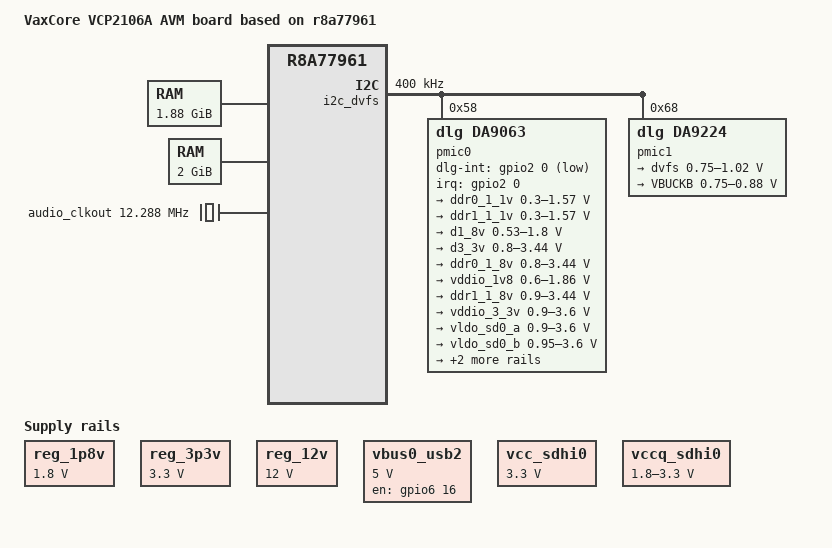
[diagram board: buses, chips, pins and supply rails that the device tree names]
// SPDX-License-Identifier: GPL-2.0
/*
 * Device Tree Source for common parts of Salvator-X board variants
 *
 * Copyright (C) 2015-2017 Renesas Electronics Corp.
 */

/*
 * SSI-AK4613
 *
 * This command is required when Playback/Capture
 *
 *	amixer set "DVC Out" 100%
 *	amixer set "DVC In" 100%
 *
 * You can use Mute
 *
 *	amixer set "DVC Out Mute" on
 *	amixer set "DVC In Mute" on
 *
 * You can use Volume Ramp
 *
 *	amixer set "DVC Out Ramp Up Rate"   "0.125 dB/64 steps"
 *	amixer set "DVC Out Ramp Down Rate" "0.125 dB/512 steps"
 *	amixer set "DVC Out Ramp" on
 *	aplay xxx.wav &
 *	amixer set "DVC Out"  80%  // Volume Down
 *	amixer set "DVC Out" 100%  // Volume Up
 */

#include <dt-bindings/gpio/gpio.h>

/ {
	model = "VaxCore VCP2106A AVM board based on r8a77961";
	compatible = "vaxcore,vcp2106a", "renesas,r8a77961";

	chosen {
		bootargs = "ignore_loglevel rw root=/dev/nfs ip=dhcp";
		stdout-path = "serial0:115200n8";
	};

	memory@48000000 {
		device_type = "memory";
		/* first 128MB is reserved for secure area. */
		reg = <0x0 0x48000000 0x0 0x78000000>;
	};

	memory@600000000 {
		device_type = "memory";
		reg = <0x6 0x00000000 0x0 0x80000000>;
	};

	reserved-memory {
		#address-cells = <2>;
		#size-cells = <2>;
		ranges;

		/* device specific region for Lossy Decompression */
		lossy_decompress: linux,lossy_decompress@54000000 {
			no-map;
			reg = <0x00000000 0x54000000 0x0 0x03000000>;
		};

		/* reserved region for CR7 FreeRTOS */
		rtos_reserved: linux,rtos@57000000{
			reg = <0x00000000 0x57000000 0x0 0x04000000>;
		};

		/* global autoconfigured region for contiguous allocations */
		linux,cma@5b000000 {
			compatible = "shared-dma-pool";
			reusable;
			reg = <0x00000000 0x5B000000 0x0 0x15000000>;
			linux,cma-default;
		};

		/* device specific region for contiguous allocations */
		mmp_reserved: linux,multimedia@70000000 {
			compatible = "shared-dma-pool";
			reusable;
			reg = <0x00000000 0x70000000 0x0 0x10000000>;
		};

		/* reserved region for CR7 FreeRTOS framerbuffer */
		/*
		rtos_fb_reserved: linux,rtos@7d000000{
			reg = <0x00000000 0x7C000000 0x0 0x04000000>;
		};
		*/
	};

	reg_1p8v: regulator0 {
		compatible = "regulator-fixed";
		regulator-name = "fixed-1.8V";
		regulator-min-microvolt = <1800000>;
		regulator-max-microvolt = <1800000>;
		regulator-boot-on;
		regulator-always-on;
	};

	reg_3p3v: regulator1 {
		compatible = "regulator-fixed";
		regulator-name = "fixed-3.3V";
		regulator-min-microvolt = <3300000>;
		regulator-max-microvolt = <3300000>;
		regulator-boot-on;
		regulator-always-on;
	};

	reg_12v: regulator2 {
		compatible = "regulator-fixed";
		regulator-name = "fixed-12V";
		regulator-min-microvolt = <12000000>;
		regulator-max-microvolt = <12000000>;
		regulator-boot-on;
		regulator-always-on;
	};

	vbus0_usb2: regulator-vbus0-usb2 {
		compatible = "regulator-fixed";

		regulator-name = "USB20_VBUS0";
		regulator-min-microvolt = <5000000>;
		regulator-max-microvolt = <5000000>;

		gpio = <&gpio6 16 GPIO_ACTIVE_HIGH>;
		enable-active-high;
	};

	vcc_sdhi0: regulator-vcc-sdhi0 {
		compatible = "regulator-fixed";

		regulator-name = "SDHI0 Vcc";
		regulator-min-microvolt = <3300000>;
		regulator-max-microvolt = <3300000>;
		regulator-boot-on;
		regulator-always-on;
	};

	vccq_sdhi0: regulator-vccq-sdhi0 {
		compatible = "regulator-gpio";

		regulator-name = "SDHI0 VccQ";
		regulator-min-microvolt = <1800000>;
		regulator-max-microvolt = <3300000>;

		gpios = <&gpio5 1 GPIO_ACTIVE_HIGH>;
		gpios-states = <1>;
		states = <3300000 1
			  1800000 0>;
	};

	mmngr {
		compatible = "renesas,mmngr";
		memory-region = <&mmp_reserved>, <&lossy_decompress>;
	};

	mmngrbuf {
		compatible = "renesas,mmngrbuf";
	};

	vspm_if {
		compatible = "renesas,vspm_if";
	};

	x12_clk: x12 {
		compatible = "fixed-clock";
		#clock-cells = <0>;
		clock-frequency = <24576000>;
	};

	/* External DU dot clocks */
	x21_clk: x21-clock {
		compatible = "fixed-clock";
		#clock-cells = <0>;
		clock-frequency = <33000000>;
	};

	x22_clk: x22-clock {
		compatible = "fixed-clock";
		#clock-cells = <0>;
		clock-frequency = <33000000>;
	};

	x23_clk: x23-clock {
		compatible = "fixed-clock";
		#clock-cells = <0>;
		clock-frequency = <25000000>;
	};

	audio_clkout: audio-clkout {
		/*
		 * This is same as <&rcar_sound 0>
		 * but needed to avoid cs2000/rcar_sound probe dead-lock
		 */
		compatible = "fixed-clock";
		#clock-cells = <0>;
		clock-frequency = <12288000>;
	};
};

&pfc {
	pinctrl-0 = <&scif_clk_pins>;
	pinctrl-names = "default";

	du_pins: du {
		groups = "du_rgb888", "du_sync", "du_oddf", "du_clk_out_0";
		function = "du";
	};

	hscif0_pins: hscif0 {
		groups = "hscif0_data";
		function = "hscif0";
	};

	hscif1_pins: hscif1 {
		groups = "hscif1_data_a";
		function = "hscif1";
	};

	hscif3_pins: hscif3 {
		groups = "hscif3_data_a";
		function = "hscif3";
	};

	i2c0_pins: i2c0 {
		groups = "i2c0";
		function = "i2c0";
	};

	i2c2_pins: i2c2 {
		groups = "i2c2_a";
		function = "i2c2";
	};

	i2c3_pins: i2c3 {
		groups = "i2c3";
		function = "i2c3";
	};

	i2c5_pins: i2c5 {
		groups = "i2c5";
		function = "i2c5";
	};

	i2c6_pins: i2c6 {
		groups = "i2c6_b";
		function = "i2c6";
	};

	irq0_pins: irq0 {
		groups = "intc_ex_irq0";
		function = "intc_ex";
	};

	pwm1_pins: pwm1 {
		groups = "pwm1_a";
		function = "pwm1";
	};

	pwm2_pins: pwm2 {
		groups = "pwm2_a";
		function = "pwm2";
	};

	scif1_pins: scif1 {
		groups = "scif1_data_b";
		function = "scif1";
	};

	scif2_pins: scif2 {
		groups = "scif2_data_a";
		function = "scif2";
	};

	scif3_pins: scif3 {
		groups = "scif3_data_a";
		function = "scif3";
	};

	scif_clk_pins: scif_clk {
		groups = "scif_clk_a";
		function = "scif_clk";
	};

	sdhi0_pins: sd0 {
		groups = "sdhi0_data4", "sdhi0_ctrl";
		function = "sdhi0";
		power-source = <3300>;
	};

	sdhi0_pins_uhs: sd0_uhs {
		groups = "sdhi0_data4", "sdhi0_ctrl";
		function = "sdhi0";
		power-source = <1800>;
	};

	sdhi2_pins: sd2 {
		groups = "sdhi2_data8", "sdhi2_ctrl", "sdhi2_ds";
		function = "sdhi2";
		power-source = <3300>;
	};

	sdhi2_pins_uhs: sd2_uhs {
		groups = "sdhi2_data8", "sdhi2_ctrl", "sdhi2_ds";
		function = "sdhi2";
		power-source = <1800>;
	};

	sdhi3_pins: sd3 {
		groups = "sdhi3_data4", "sdhi3_ctrl", "sdhi3_ds";
		function = "sdhi3";
		power-source = <3300>;
	};

	sdhi3_pins_uhs: sd3_uhs {
		groups = "sdhi3_data4", "sdhi3_ctrl", "sdhi3_ds";
		function = "sdhi3";
		power-source = <1800>;
	};

	can0_pins: can0 {
		groups = "can0_data_a";
		function = "can0";
	};

	can1_pins: can1 {
		groups = "can1_data";
		function = "can1";
	};

	sound_pins: sound {
		groups = "ssi01239_ctrl", "ssi0_data", "ssi1_data_a";
		function = "ssi";
	};

	sound_clk_pins: sound_clk {
		groups = "audio_clk_a_a", "audio_clk_b_a", "audio_clk_c_a", "audio_clkout_a", "audio_clkout3_a";
		function = "audio_clk";
	};

	usb0_pins: usb0 {
		groups = "usb0";
		function = "usb0";
	};

	usb1_pins: usb1 {
		mux {
			groups = "usb1";
			function = "usb1";
		};

		ovc {
			pins = "GP_6_27";
			bias-pull-up;
		};

		pwen {
			pins = "GP_6_26";
			bias-pull-down;
		};
	};

	usb30_pins: usb30 {
		groups = "usb30";
		function = "usb30";
	};
};

&a57_0 {
	cpu-supply = <&dvfs>;
};

&extal_clk {
	clock-frequency = <16666666>;
};

&extalr_clk {
	clock-frequency = <32768>;
};

&scif_clk {
	clock-frequency = <14745600>;
};

&hscif0 {
	pinctrl-0 = <&hscif0_pins>;
	pinctrl-names = "default";

	/* Please use exclusively to the scif1 node */
	status = "disabled";
};

&hscif1 {
	pinctrl-0 = <&hscif1_pins>;
	pinctrl-names = "default";

	/* Please use exclusively to the scif1 node */
	status = "disabled";
};

&scif1 {
	pinctrl-0 = <&scif1_pins>;
	pinctrl-names = "default";

	/*uart-has-rtscts;*/
	/* Please use exclusively to the hscif1 node */
	status = "disabled";
};

&scif2 {
	pinctrl-0 = <&scif2_pins>;
	pinctrl-names = "default";

	status = "disabled";
};

&scif3 {
	pinctrl-0 = <&scif3_pins>;
	pinctrl-names = "default";

	status = "disabled";
};

&rwdt {
	timeout-sec = <60>;
	status = "disabled";
};

&sdhi0 {
	pinctrl-0 = <&sdhi0_pins>;
	pinctrl-1 = <&sdhi0_pins_uhs>;
	pinctrl-names = "default", "state_uhs";

	vmmc-supply = <&vcc_sdhi0>;
	vqmmc-supply = <&vccq_sdhi0>;
	cd-gpios = <&gpio3 12 GPIO_ACTIVE_LOW>;
	wp-gpios = <&gpio3 13 GPIO_ACTIVE_LOW>;
	bus-width = <4>;
	sd-uhs-sdr50;
	sd-uhs-sdr104;
	status = "disabled";
};

&sdhi2 {
	/* used for on-board 8bit eMMC */
	pinctrl-0 = <&sdhi2_pins>;
	pinctrl-1 = <&sdhi2_pins_uhs>;
	pinctrl-names = "default", "state_uhs";

	vmmc-supply = <&reg_3p3v>;
	vqmmc-supply = <&reg_1p8v>;
	bus-width = <8>;
	mmc-hs200-1_8v;
	mmc-hs400-1_8v;
	no-sd;
	no-sdio;
	non-removable;
	fixed-emmc-driver-type = <1>;
	status = "disabled";
};


&sdhi3 {
	pinctrl-0 = <&sdhi3_pins>;
	pinctrl-1 = <&sdhi3_pins_uhs>;
	pinctrl-names = "default", "state_uhs";

	cd-gpios = <&gpio4 15 GPIO_ACTIVE_LOW>;
	wp-gpios = <&gpio4 16 GPIO_ACTIVE_HIGH>;
	bus-width = <4>;
	sd-uhs-sdr50;
	sd-uhs-sdr104;
	status = "disabled";
};

&i2c0 {
	pinctrl-0 = <&i2c0_pins>;
	pinctrl-names = "default";
	clock-frequency = <400000>;
	status = "disabled";
};

&i2c2 {
	pinctrl-0 = <&i2c2_pins>;
	pinctrl-names = "default";
	clock-frequency = <400000>;
	status = "disabled";

	cs2000: cs2000@4f {
		#clock-cells = <0>;
		compatible = "cirrus,cs2000-cp";
		reg = <0x4f>;
		clocks = <&audio_clkout>, <&x12_clk>;
		clock-names = "clk_in", "ref_clk";

		assigned-clocks = <&cs2000>;
		assigned-clock-rates = <24576000>; /* 1/1 divide */
	};
};

&i2c3 {
	pinctrl-0 = <&i2c3_pins>;
	pinctrl-names = "default";
	clock-frequency = <400000>;
	status = "disabled";
};

&i2c4 {
	clock-frequency = <400000>;
	status = "disabled";

	9FGV0841AKILF@68 {
		compatible = "idt,9FGV0841AKILF",
					 "renesas,9FGV0841AKILF";
		reg = <0x68>;
	};

	versaclock5: clock-generator@6a {
		compatible = "idt,5p49v5925";
		reg = <0x6a>;
		#clock-cells = <1>;
		clocks = <&x23_clk>;
		clock-names = "xin";
	};
};

&i2c5 {
	pinctrl-0 = <&i2c5_pins>;
	pinctrl-names = "default";
	clock-frequency = <400000>;
	status = "disabled";
};

&i2c6 {
	pinctrl-0 = <&i2c6_pins>;
	pinctrl-names = "default";
	clock-frequency = <400000>;
	status = "disabled";
};

&i2c_dvfs {
	clock-frequency = <400000>;
	status = "okay";

	pmic0: da9063@58 {
		compatible = "dlg,da9063";
		reg = <0x58>;

		dlg-int-gpio = <&gpio2 0 GPIO_ACTIVE_LOW>;
		interrupt-parent = <&gpio2>;
		interrupts = <0 IRQ_TYPE_LEVEL_LOW>;
		interrupt-controller;

		dlg,r-car-timer-enable;
//		dlg,backup-hold-timer-hours = <1>;
		dlg,backup-hold-timer-multiplier = <1>;

		onkey {
			compatible = "dlg,da9063-onkey";
		};

		gpikey {
			compatible = "dlg,da9063-gpi8key";
		};

		da9063_rtc:rtc {
			compatible = "dlg,da9063-rtc";
		};

		wdt {
			compatible = "dlg,da9063-watchdog";
		};

		regulators {
			ddr0_1_1v: bcore1 {
				regulator-name = "BCORE1";
				regulator-min-microvolt = <300000>;
				regulator-max-microvolt = <1570000>;
				regulator-boot-on;
			};
			ddr1_1_1v: bcore2 {
				regulator-name = "BCORE2";
				regulator-min-microvolt = <300000>;
				regulator-max-microvolt = <1570000>;
				regulator-boot-on;
			};
			d1_8v: bpro {
				regulator-name = "BPRO";
				regulator-min-microvolt = <530000>;
				regulator-max-microvolt = <1800000>;
				regulator-boot-on;
			};
			d3_3v: bmem-bio-merged {
				regulator-name = "BMEM_BIO_MERGED";
				regulator-min-microvolt = <800000>;
				regulator-max-microvolt = <3440000>;
				regulator-boot-on;
			};
			ddr0_1_8v: bperi {
				regulator-name = "BPERI";
				regulator-min-microvolt = <800000>;
				regulator-max-microvolt = <3440000>;
				regulator-boot-on;
			};
			vddio_1v8: ldo2 {
				regulator-name = "LDO_2";
				regulator-min-microvolt = <600000>;
				regulator-max-microvolt = <1860000>;
				regulator-boot-on;
			};
			ddr1_1_8v: ldo3 {
				regulator-name = "LDO_3";
				regulator-min-microvolt = <900000>;
				regulator-max-microvolt = <3440000>;
				regulator-boot-on;
			};
			vddio_3_3v: ldo5 {
				regulator-name = "LDO_5";
				regulator-min-microvolt = <900000>;
				regulator-max-microvolt = <3600000>;
				regulator-boot-on;
			};
			vldo_sd0_a: ldo8 {
				regulator-name = "LDO_8";
				regulator-min-microvolt = <900000>;
				regulator-max-microvolt = <3600000>;
				regulator-boot-on;
			};
			vldo_sd0_b: ldo9 {
				regulator-name = "LDO_9";
				regulator-min-microvolt = <950000>;
				regulator-max-microvolt = <3600000>;
				regulator-boot-on;
			};
			vldo_sd3: ldo10 {
				regulator-name = "LDO_10";
				regulator-min-microvolt = <900000>;
				regulator-max-microvolt = <3600000>;
				regulator-boot-on;
			};
			vldo_2_5v: ldo11 {
				regulator-name = "LDO_11";
				regulator-min-microvolt = <900000>;
				regulator-max-microvolt = <3600000>;
				regulator-boot-on;
			};
		};
	};

	pmic1: DA9224@68 {
		compatible = "dlg,da9224";
		reg = <0x68>;

		regulators {
			dvfs: BUCKA {
				regulator-name = "VBUCKA";
				regulator-min-microvolt = < 750000>;
				regulator-max-microvolt = <1020000>;
				regulator-min-microamp  = <4000000>;
				regulator-max-microamp  = <7000000>;
				regulator-ramp-delay = <10000>;
				regulator-boot-on;
				regulator-always-on;
			};

			BUCKB {
				regulator-name = "VBUCKB";
				regulator-min-microvolt = < 750000>;
				regulator-max-microvolt = < 880000>;
				regulator-min-microamp  = <4000000>;
				regulator-max-microamp  = <7000000>;
				regulator-ramp-delay = <10000>;
				regulator-boot-on;
				regulator-always-on;
			};
		};
	};
};

&ehci0 {
	dr_mode = "otg";
	status = "disabled";
};

&ehci1 {
	status = "disabled";
};

&ohci0 {
	dr_mode = "otg";
	status = "disabled";
};

&ohci1 {
	status = "disabled";
};


&hsusb {
	dr_mode = "otg";
	status = "disabled";
};

&usb_extal_clk {
	clock-frequency = <100000000>;
};

&usb2_phy0 {
	pinctrl-0 = <&usb0_pins>;
	pinctrl-names = "default";

	vbus-supply = <&vbus0_usb2>;
	status = "disabled";
};

&usb2_phy1 {
	pinctrl-0 = <&usb1_pins>;
	pinctrl-names = "default";

	status = "disabled";
};

&usb3_peri0 {
	phys = <&usb3_phy0>;
	phy-names = "usb";

	status = "disabled";
};

&usb3_phy0 {
	status = "disabled";
};

&usb3s0_clk {
	clock-frequency = <100000000>;
};

&xhci0 {
	pinctrl-0 = <&usb30_pins>;
	pinctrl-names = "default";

	status = "disabled";
};

&du {
	clocks = <&cpg CPG_MOD 724>,
		 <&cpg CPG_MOD 723>,
		 <&cpg CPG_MOD 722>,
		 <&versaclock5 1>,
		 <&x21_clk>,
		 <&versaclock5 2>;
	clock-names = "du.0", "du.1", "du.2",
		      "dclkin.0", "dclkin.1", "dclkin.2";

	pinctrl-0 = <&du_pins>;
	pinctrl-names = "default";
	status = "disabled";
};

&audio_clk_a {
	clock-frequency = <22579200>;
};

&audio_clk_b {
	clock-frequency = <24576000>;
};

&pcie_bus_clk {
	clock-frequency = <100000000>;
};

&pciec0 {
	status = "disabled";
};


&pciec1 {
	status = "disabled";
};

&pwm1 {
	pinctrl-0 = <&pwm1_pins>;
	pinctrl-names = "default";

	status = "disabled";
};

&pwm2 {
	pinctrl-0 = <&pwm2_pins>;
	pinctrl-names = "default";

	status = "disabled";
};

&can0 {
	pinctrl-0 = <&can0_pins>;
	pinctrl-names = "default";
	status = "disabled";
};

&can1 {
	pinctrl-0 = <&can1_pins>;
	pinctrl-names = "default";
	status = "disabled";
};

